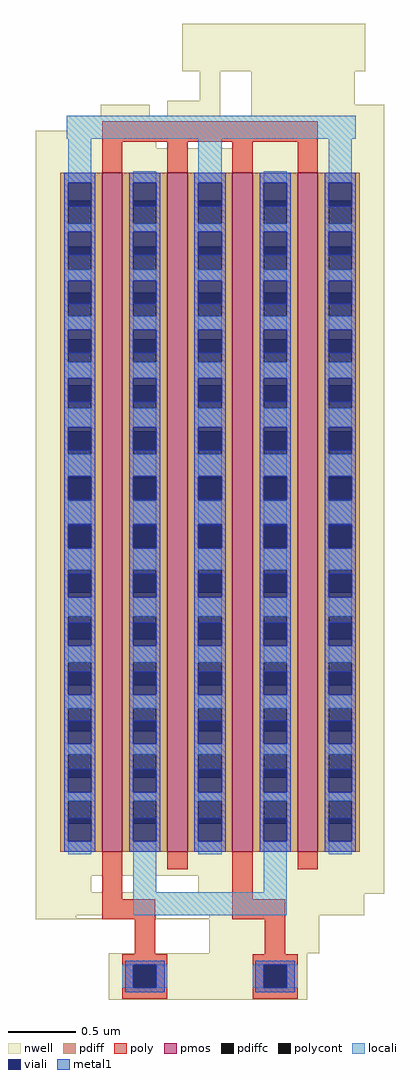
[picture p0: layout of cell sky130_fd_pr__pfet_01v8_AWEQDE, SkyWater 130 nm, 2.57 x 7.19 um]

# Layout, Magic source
magic
tech sky130A
magscale 1 2
<< nwell >>
rect -41 650 229 720
rect -15 606 15 650
rect -161 584 -89 600
rect -63 584 15 606
rect 61 600 213 650
rect 61 584 257 600
rect -211 562 257 584
rect -257 546 257 562
rect -257 536 -79 546
rect -63 536 -33 546
rect -17 536 17 546
rect 33 536 257 546
rect -257 -536 257 536
rect -257 -560 -175 -536
rect -159 -560 -129 -536
rect -113 -560 -79 -536
rect -17 -560 257 -536
rect -257 -562 257 -560
rect -257 -594 227 -562
rect -257 -598 -197 -594
rect -159 -598 -79 -594
rect -1 -598 161 -594
rect -257 -600 161 -598
rect -111 -650 -81 -600
rect -1 -650 161 -600
rect -149 -718 143 -650
<< pmos >>
rect -159 -500 -129 500
rect -63 -500 -33 500
rect 33 -500 63 500
rect 129 -500 159 500
<< pdiff >>
rect -221 459 -159 500
rect -221 425 -209 459
rect -175 425 -159 459
rect -221 391 -159 425
rect -221 357 -209 391
rect -175 357 -159 391
rect -221 323 -159 357
rect -221 289 -209 323
rect -175 289 -159 323
rect -221 255 -159 289
rect -221 221 -209 255
rect -175 221 -159 255
rect -221 187 -159 221
rect -221 153 -209 187
rect -175 153 -159 187
rect -221 119 -159 153
rect -221 85 -209 119
rect -175 85 -159 119
rect -221 51 -159 85
rect -221 17 -209 51
rect -175 17 -159 51
rect -221 -17 -159 17
rect -221 -51 -209 -17
rect -175 -51 -159 -17
rect -221 -85 -159 -51
rect -221 -119 -209 -85
rect -175 -119 -159 -85
rect -221 -153 -159 -119
rect -221 -187 -209 -153
rect -175 -187 -159 -153
rect -221 -221 -159 -187
rect -221 -255 -209 -221
rect -175 -255 -159 -221
rect -221 -289 -159 -255
rect -221 -323 -209 -289
rect -175 -323 -159 -289
rect -221 -357 -159 -323
rect -221 -391 -209 -357
rect -175 -391 -159 -357
rect -221 -425 -159 -391
rect -221 -459 -209 -425
rect -175 -459 -159 -425
rect -221 -500 -159 -459
rect -129 459 -63 500
rect -129 425 -113 459
rect -79 425 -63 459
rect -129 391 -63 425
rect -129 357 -113 391
rect -79 357 -63 391
rect -129 323 -63 357
rect -129 289 -113 323
rect -79 289 -63 323
rect -129 255 -63 289
rect -129 221 -113 255
rect -79 221 -63 255
rect -129 187 -63 221
rect -129 153 -113 187
rect -79 153 -63 187
rect -129 119 -63 153
rect -129 85 -113 119
rect -79 85 -63 119
rect -129 51 -63 85
rect -129 17 -113 51
rect -79 17 -63 51
rect -129 -17 -63 17
rect -129 -51 -113 -17
rect -79 -51 -63 -17
rect -129 -85 -63 -51
rect -129 -119 -113 -85
rect -79 -119 -63 -85
rect -129 -153 -63 -119
rect -129 -187 -113 -153
rect -79 -187 -63 -153
rect -129 -221 -63 -187
rect -129 -255 -113 -221
rect -79 -255 -63 -221
rect -129 -289 -63 -255
rect -129 -323 -113 -289
rect -79 -323 -63 -289
rect -129 -357 -63 -323
rect -129 -391 -113 -357
rect -79 -391 -63 -357
rect -129 -425 -63 -391
rect -129 -459 -113 -425
rect -79 -459 -63 -425
rect -129 -500 -63 -459
rect -33 459 33 500
rect -33 425 -17 459
rect 17 425 33 459
rect -33 391 33 425
rect -33 357 -17 391
rect 17 357 33 391
rect -33 323 33 357
rect -33 289 -17 323
rect 17 289 33 323
rect -33 255 33 289
rect -33 221 -17 255
rect 17 221 33 255
rect -33 187 33 221
rect -33 153 -17 187
rect 17 153 33 187
rect -33 119 33 153
rect -33 85 -17 119
rect 17 85 33 119
rect -33 51 33 85
rect -33 17 -17 51
rect 17 17 33 51
rect -33 -17 33 17
rect -33 -51 -17 -17
rect 17 -51 33 -17
rect -33 -85 33 -51
rect -33 -119 -17 -85
rect 17 -119 33 -85
rect -33 -153 33 -119
rect -33 -187 -17 -153
rect 17 -187 33 -153
rect -33 -221 33 -187
rect -33 -255 -17 -221
rect 17 -255 33 -221
rect -33 -289 33 -255
rect -33 -323 -17 -289
rect 17 -323 33 -289
rect -33 -357 33 -323
rect -33 -391 -17 -357
rect 17 -391 33 -357
rect -33 -425 33 -391
rect -33 -459 -17 -425
rect 17 -459 33 -425
rect -33 -500 33 -459
rect 63 459 129 500
rect 63 425 79 459
rect 113 425 129 459
rect 63 391 129 425
rect 63 357 79 391
rect 113 357 129 391
rect 63 323 129 357
rect 63 289 79 323
rect 113 289 129 323
rect 63 255 129 289
rect 63 221 79 255
rect 113 221 129 255
rect 63 187 129 221
rect 63 153 79 187
rect 113 153 129 187
rect 63 119 129 153
rect 63 85 79 119
rect 113 85 129 119
rect 63 51 129 85
rect 63 17 79 51
rect 113 17 129 51
rect 63 -17 129 17
rect 63 -51 79 -17
rect 113 -51 129 -17
rect 63 -85 129 -51
rect 63 -119 79 -85
rect 113 -119 129 -85
rect 63 -153 129 -119
rect 63 -187 79 -153
rect 113 -187 129 -153
rect 63 -221 129 -187
rect 63 -255 79 -221
rect 113 -255 129 -221
rect 63 -289 129 -255
rect 63 -323 79 -289
rect 113 -323 129 -289
rect 63 -357 129 -323
rect 63 -391 79 -357
rect 113 -391 129 -357
rect 63 -425 129 -391
rect 63 -459 79 -425
rect 113 -459 129 -425
rect 63 -500 129 -459
rect 159 459 221 500
rect 159 425 175 459
rect 209 425 221 459
rect 159 391 221 425
rect 159 357 175 391
rect 209 357 221 391
rect 159 323 221 357
rect 159 289 175 323
rect 209 289 221 323
rect 159 255 221 289
rect 159 221 175 255
rect 209 221 221 255
rect 159 187 221 221
rect 159 153 175 187
rect 209 153 221 187
rect 159 119 221 153
rect 159 85 175 119
rect 209 85 221 119
rect 159 51 221 85
rect 159 17 175 51
rect 209 17 221 51
rect 159 -17 221 17
rect 159 -51 175 -17
rect 209 -51 221 -17
rect 159 -85 221 -51
rect 159 -119 175 -85
rect 209 -119 221 -85
rect 159 -153 221 -119
rect 159 -187 175 -153
rect 209 -187 221 -153
rect 159 -221 221 -187
rect 159 -255 175 -221
rect 209 -255 221 -221
rect 159 -289 221 -255
rect 159 -323 175 -289
rect 209 -323 221 -289
rect 159 -357 221 -323
rect 159 -391 175 -357
rect 209 -391 221 -357
rect 159 -425 221 -391
rect 159 -459 175 -425
rect 209 -459 221 -425
rect 159 -500 221 -459
<< pdiffc >>
rect -209 425 -175 459
rect -209 357 -175 391
rect -209 289 -175 323
rect -209 221 -175 255
rect -209 153 -175 187
rect -209 85 -175 119
rect -209 17 -175 51
rect -209 -51 -175 -17
rect -209 -119 -175 -85
rect -209 -187 -175 -153
rect -209 -255 -175 -221
rect -209 -323 -175 -289
rect -209 -391 -175 -357
rect -209 -459 -175 -425
rect -113 425 -79 459
rect -113 357 -79 391
rect -113 289 -79 323
rect -113 221 -79 255
rect -113 153 -79 187
rect -113 85 -79 119
rect -113 17 -79 51
rect -113 -51 -79 -17
rect -113 -119 -79 -85
rect -113 -187 -79 -153
rect -113 -255 -79 -221
rect -113 -323 -79 -289
rect -113 -391 -79 -357
rect -113 -459 -79 -425
rect -17 425 17 459
rect -17 357 17 391
rect -17 289 17 323
rect -17 221 17 255
rect -17 153 17 187
rect -17 85 17 119
rect -17 17 17 51
rect -17 -51 17 -17
rect -17 -119 17 -85
rect -17 -187 17 -153
rect -17 -255 17 -221
rect -17 -323 17 -289
rect -17 -391 17 -357
rect -17 -459 17 -425
rect 79 425 113 459
rect 79 357 113 391
rect 79 289 113 323
rect 79 221 113 255
rect 79 153 113 187
rect 79 85 113 119
rect 79 17 113 51
rect 79 -51 113 -17
rect 79 -119 113 -85
rect 79 -187 113 -153
rect 79 -255 113 -221
rect 79 -323 113 -289
rect 79 -391 113 -357
rect 79 -459 113 -425
rect 175 425 209 459
rect 175 357 209 391
rect 175 289 209 323
rect 175 221 209 255
rect 175 153 209 187
rect 175 85 209 119
rect 175 17 209 51
rect 175 -51 209 -17
rect 175 -119 209 -85
rect 175 -187 209 -153
rect 175 -255 209 -221
rect 175 -323 209 -289
rect 175 -391 209 -357
rect 175 -459 209 -425
<< poly >>
rect -159 546 159 576
rect -159 500 -129 546
rect -63 500 -33 546
rect 33 500 63 546
rect 129 500 159 546
rect -159 -570 -129 -500
rect -63 -526 -33 -500
rect 33 -570 63 -500
rect 129 -526 159 -500
rect -159 -600 -81 -570
rect 33 -600 111 -570
rect -111 -651 -81 -600
rect 81 -651 111 -600
rect -129 -667 -63 -651
rect -129 -701 -113 -667
rect -79 -701 -63 -667
rect -129 -717 -63 -701
rect 63 -667 129 -651
rect 63 -701 79 -667
rect 113 -701 129 -667
rect 63 -717 129 -701
<< polycont >>
rect -113 -701 -79 -667
rect 79 -701 113 -667
<< locali >>
rect -211 550 215 584
rect -209 485 -175 550
rect -209 413 -175 425
rect -209 341 -175 357
rect -209 269 -175 289
rect -209 197 -175 221
rect -209 125 -175 153
rect -209 53 -175 85
rect -209 -17 -175 17
rect -209 -85 -175 -53
rect -209 -153 -175 -125
rect -209 -221 -175 -197
rect -209 -289 -175 -269
rect -209 -357 -175 -341
rect -209 -425 -175 -413
rect -209 -504 -175 -485
rect -113 485 -79 502
rect -113 413 -79 425
rect -113 341 -79 357
rect -113 269 -79 289
rect -113 197 -79 221
rect -113 125 -79 153
rect -113 53 -79 85
rect -113 -17 -79 17
rect -113 -85 -79 -53
rect -113 -153 -79 -125
rect -113 -221 -79 -197
rect -113 -289 -79 -269
rect -113 -357 -79 -341
rect -113 -425 -79 -413
rect -113 -560 -79 -485
rect -17 485 17 550
rect -17 413 17 425
rect -17 341 17 357
rect -17 269 17 289
rect -17 197 17 221
rect -17 125 17 153
rect -17 53 17 85
rect -17 -17 17 17
rect -17 -85 17 -53
rect -17 -153 17 -125
rect -17 -221 17 -197
rect -17 -289 17 -269
rect -17 -357 17 -341
rect -17 -425 17 -413
rect -17 -504 17 -485
rect 79 485 113 502
rect 79 413 113 425
rect 79 341 113 357
rect 79 269 113 289
rect 79 197 113 221
rect 79 125 113 153
rect 79 53 113 85
rect 79 -17 113 17
rect 79 -85 113 -53
rect 79 -153 113 -125
rect 79 -221 113 -197
rect 79 -289 113 -269
rect 79 -357 113 -341
rect 79 -425 113 -413
rect 79 -560 113 -485
rect 175 485 209 550
rect 175 413 209 425
rect 175 341 209 357
rect 175 269 209 289
rect 175 197 209 221
rect 175 125 209 153
rect 175 53 209 85
rect 175 -17 209 17
rect 175 -85 209 -53
rect 175 -153 209 -125
rect 175 -221 209 -197
rect 175 -289 209 -269
rect 175 -357 209 -341
rect 175 -425 209 -413
rect 175 -504 209 -485
rect -113 -594 113 -560
rect -129 -701 -113 -667
rect -79 -701 -63 -667
rect 63 -701 79 -667
rect 113 -701 129 -667
<< viali >>
rect -209 459 -175 485
rect -209 451 -175 459
rect -209 391 -175 413
rect -209 379 -175 391
rect -209 323 -175 341
rect -209 307 -175 323
rect -209 255 -175 269
rect -209 235 -175 255
rect -209 187 -175 197
rect -209 163 -175 187
rect -209 119 -175 125
rect -209 91 -175 119
rect -209 51 -175 53
rect -209 19 -175 51
rect -209 -51 -175 -19
rect -209 -53 -175 -51
rect -209 -119 -175 -91
rect -209 -125 -175 -119
rect -209 -187 -175 -163
rect -209 -197 -175 -187
rect -209 -255 -175 -235
rect -209 -269 -175 -255
rect -209 -323 -175 -307
rect -209 -341 -175 -323
rect -209 -391 -175 -379
rect -209 -413 -175 -391
rect -209 -459 -175 -451
rect -209 -485 -175 -459
rect -113 459 -79 485
rect -113 451 -79 459
rect -113 391 -79 413
rect -113 379 -79 391
rect -113 323 -79 341
rect -113 307 -79 323
rect -113 255 -79 269
rect -113 235 -79 255
rect -113 187 -79 197
rect -113 163 -79 187
rect -113 119 -79 125
rect -113 91 -79 119
rect -113 51 -79 53
rect -113 19 -79 51
rect -113 -51 -79 -19
rect -113 -53 -79 -51
rect -113 -119 -79 -91
rect -113 -125 -79 -119
rect -113 -187 -79 -163
rect -113 -197 -79 -187
rect -113 -255 -79 -235
rect -113 -269 -79 -255
rect -113 -323 -79 -307
rect -113 -341 -79 -323
rect -113 -391 -79 -379
rect -113 -413 -79 -391
rect -113 -459 -79 -451
rect -113 -485 -79 -459
rect -17 459 17 485
rect -17 451 17 459
rect -17 391 17 413
rect -17 379 17 391
rect -17 323 17 341
rect -17 307 17 323
rect -17 255 17 269
rect -17 235 17 255
rect -17 187 17 197
rect -17 163 17 187
rect -17 119 17 125
rect -17 91 17 119
rect -17 51 17 53
rect -17 19 17 51
rect -17 -51 17 -19
rect -17 -53 17 -51
rect -17 -119 17 -91
rect -17 -125 17 -119
rect -17 -187 17 -163
rect -17 -197 17 -187
rect -17 -255 17 -235
rect -17 -269 17 -255
rect -17 -323 17 -307
rect -17 -341 17 -323
rect -17 -391 17 -379
rect -17 -413 17 -391
rect -17 -459 17 -451
rect -17 -485 17 -459
rect 79 459 113 485
rect 79 451 113 459
rect 79 391 113 413
rect 79 379 113 391
rect 79 323 113 341
rect 79 307 113 323
rect 79 255 113 269
rect 79 235 113 255
rect 79 187 113 197
rect 79 163 113 187
rect 79 119 113 125
rect 79 91 113 119
rect 79 51 113 53
rect 79 19 113 51
rect 79 -51 113 -19
rect 79 -53 113 -51
rect 79 -119 113 -91
rect 79 -125 113 -119
rect 79 -187 113 -163
rect 79 -197 113 -187
rect 79 -255 113 -235
rect 79 -269 113 -255
rect 79 -323 113 -307
rect 79 -341 113 -323
rect 79 -391 113 -379
rect 79 -413 113 -391
rect 79 -459 113 -451
rect 79 -485 113 -459
rect 175 459 209 485
rect 175 451 209 459
rect 175 391 209 413
rect 175 379 209 391
rect 175 323 209 341
rect 175 307 209 323
rect 175 255 209 269
rect 175 235 209 255
rect 175 187 209 197
rect 175 163 209 187
rect 175 119 209 125
rect 175 91 209 119
rect 175 51 209 53
rect 175 19 209 51
rect 175 -51 209 -19
rect 175 -53 209 -51
rect 175 -119 209 -91
rect 175 -125 209 -119
rect 175 -187 209 -163
rect 175 -197 209 -187
rect 175 -255 209 -235
rect 175 -269 209 -255
rect 175 -323 209 -307
rect 175 -341 209 -323
rect 175 -391 209 -379
rect 175 -413 209 -391
rect 175 -459 209 -451
rect 175 -485 209 -459
rect -113 -701 -79 -667
rect 79 -701 113 -667
<< metal1 >>
rect -215 485 -169 500
rect -215 451 -209 485
rect -175 451 -169 485
rect -215 413 -169 451
rect -215 379 -209 413
rect -175 379 -169 413
rect -215 341 -169 379
rect -215 307 -209 341
rect -175 307 -169 341
rect -215 269 -169 307
rect -215 235 -209 269
rect -175 235 -169 269
rect -215 197 -169 235
rect -215 163 -209 197
rect -175 163 -169 197
rect -215 125 -169 163
rect -215 91 -209 125
rect -175 91 -169 125
rect -215 53 -169 91
rect -215 19 -209 53
rect -175 19 -169 53
rect -215 -19 -169 19
rect -215 -53 -209 -19
rect -175 -53 -169 -19
rect -215 -91 -169 -53
rect -215 -125 -209 -91
rect -175 -125 -169 -91
rect -215 -163 -169 -125
rect -215 -197 -209 -163
rect -175 -197 -169 -163
rect -215 -235 -169 -197
rect -215 -269 -209 -235
rect -175 -269 -169 -235
rect -215 -307 -169 -269
rect -215 -341 -209 -307
rect -175 -341 -169 -307
rect -215 -379 -169 -341
rect -215 -413 -209 -379
rect -175 -413 -169 -379
rect -215 -451 -169 -413
rect -215 -485 -209 -451
rect -175 -485 -169 -451
rect -215 -500 -169 -485
rect -119 485 -73 500
rect -119 451 -113 485
rect -79 451 -73 485
rect -119 413 -73 451
rect -119 379 -113 413
rect -79 379 -73 413
rect -119 341 -73 379
rect -119 307 -113 341
rect -79 307 -73 341
rect -119 269 -73 307
rect -119 235 -113 269
rect -79 235 -73 269
rect -119 197 -73 235
rect -119 163 -113 197
rect -79 163 -73 197
rect -119 125 -73 163
rect -119 91 -113 125
rect -79 91 -73 125
rect -119 53 -73 91
rect -119 19 -113 53
rect -79 19 -73 53
rect -119 -19 -73 19
rect -119 -53 -113 -19
rect -79 -53 -73 -19
rect -119 -91 -73 -53
rect -119 -125 -113 -91
rect -79 -125 -73 -91
rect -119 -163 -73 -125
rect -119 -197 -113 -163
rect -79 -197 -73 -163
rect -119 -235 -73 -197
rect -119 -269 -113 -235
rect -79 -269 -73 -235
rect -119 -307 -73 -269
rect -119 -341 -113 -307
rect -79 -341 -73 -307
rect -119 -379 -73 -341
rect -119 -413 -113 -379
rect -79 -413 -73 -379
rect -119 -451 -73 -413
rect -119 -485 -113 -451
rect -79 -485 -73 -451
rect -119 -500 -73 -485
rect -23 485 23 500
rect -23 451 -17 485
rect 17 451 23 485
rect -23 413 23 451
rect -23 379 -17 413
rect 17 379 23 413
rect -23 341 23 379
rect -23 307 -17 341
rect 17 307 23 341
rect -23 269 23 307
rect -23 235 -17 269
rect 17 235 23 269
rect -23 197 23 235
rect -23 163 -17 197
rect 17 163 23 197
rect -23 125 23 163
rect -23 91 -17 125
rect 17 91 23 125
rect -23 53 23 91
rect -23 19 -17 53
rect 17 19 23 53
rect -23 -19 23 19
rect -23 -53 -17 -19
rect 17 -53 23 -19
rect -23 -91 23 -53
rect -23 -125 -17 -91
rect 17 -125 23 -91
rect -23 -163 23 -125
rect -23 -197 -17 -163
rect 17 -197 23 -163
rect -23 -235 23 -197
rect -23 -269 -17 -235
rect 17 -269 23 -235
rect -23 -307 23 -269
rect -23 -341 -17 -307
rect 17 -341 23 -307
rect -23 -379 23 -341
rect -23 -413 -17 -379
rect 17 -413 23 -379
rect -23 -451 23 -413
rect -23 -485 -17 -451
rect 17 -485 23 -451
rect -23 -500 23 -485
rect 73 485 119 500
rect 73 451 79 485
rect 113 451 119 485
rect 73 413 119 451
rect 73 379 79 413
rect 113 379 119 413
rect 73 341 119 379
rect 73 307 79 341
rect 113 307 119 341
rect 73 269 119 307
rect 73 235 79 269
rect 113 235 119 269
rect 73 197 119 235
rect 73 163 79 197
rect 113 163 119 197
rect 73 125 119 163
rect 73 91 79 125
rect 113 91 119 125
rect 73 53 119 91
rect 73 19 79 53
rect 113 19 119 53
rect 73 -19 119 19
rect 73 -53 79 -19
rect 113 -53 119 -19
rect 73 -91 119 -53
rect 73 -125 79 -91
rect 113 -125 119 -91
rect 73 -163 119 -125
rect 73 -197 79 -163
rect 113 -197 119 -163
rect 73 -235 119 -197
rect 73 -269 79 -235
rect 113 -269 119 -235
rect 73 -307 119 -269
rect 73 -341 79 -307
rect 113 -341 119 -307
rect 73 -379 119 -341
rect 73 -413 79 -379
rect 113 -413 119 -379
rect 73 -451 119 -413
rect 73 -485 79 -451
rect 113 -485 119 -451
rect 73 -500 119 -485
rect 169 485 215 500
rect 169 451 175 485
rect 209 451 215 485
rect 169 413 215 451
rect 169 379 175 413
rect 209 379 215 413
rect 169 341 215 379
rect 169 307 175 341
rect 209 307 215 341
rect 169 269 215 307
rect 169 235 175 269
rect 209 235 215 269
rect 169 197 215 235
rect 169 163 175 197
rect 209 163 215 197
rect 169 125 215 163
rect 169 91 175 125
rect 209 91 215 125
rect 169 53 215 91
rect 169 19 175 53
rect 209 19 215 53
rect 169 -19 215 19
rect 169 -53 175 -19
rect 209 -53 215 -19
rect 169 -91 215 -53
rect 169 -125 175 -91
rect 209 -125 215 -91
rect 169 -163 215 -125
rect 169 -197 175 -163
rect 209 -197 215 -163
rect 169 -235 215 -197
rect 169 -269 175 -235
rect 209 -269 215 -235
rect 169 -307 215 -269
rect 169 -341 175 -307
rect 209 -341 215 -307
rect 169 -379 215 -341
rect 169 -413 175 -379
rect 209 -413 215 -379
rect 169 -451 215 -413
rect 169 -485 175 -451
rect 209 -485 215 -451
rect 169 -500 215 -485
rect -125 -667 -67 -661
rect -125 -701 -113 -667
rect -79 -701 -67 -667
rect -125 -707 -67 -701
rect 67 -667 125 -661
rect 67 -701 79 -667
rect 113 -701 125 -667
rect 67 -707 125 -701
<< end >>
